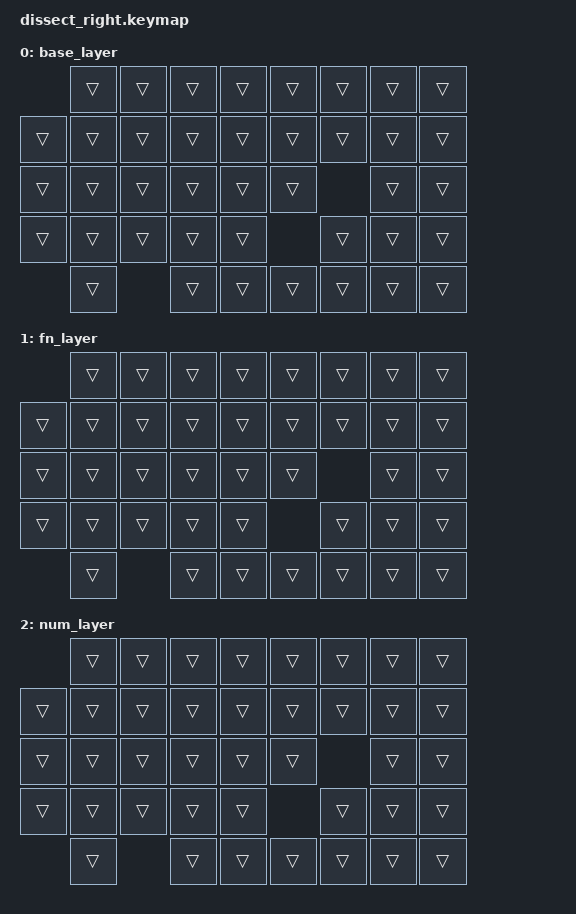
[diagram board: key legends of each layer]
#include <behaviors.dtsi>
#include <dt-bindings/zmk/keys.h>

/ {
    keymap {
        compatible = "zmk,keymap";

        base_layer {
            bindings = <
                         &trans &trans &trans &trans &trans &trans &trans &trans
                &trans   &trans &trans &trans &trans &trans &trans &trans &trans
                &trans   &trans &trans &trans &trans &trans        &trans &trans
                &trans   &trans &trans &trans &trans        &trans &trans &trans
                         &trans        &trans &trans &trans &trans &trans &trans
            >;
        };

        fn_layer {
            bindings = <
                         &trans &trans &trans &trans &trans &trans &trans &trans
                &trans   &trans &trans &trans &trans &trans &trans &trans &trans
                &trans   &trans &trans &trans &trans &trans        &trans &trans
                &trans   &trans &trans &trans &trans        &trans &trans &trans
                         &trans        &trans &trans &trans &trans &trans &trans
            >;
        };

        num_layer {
            bindings = <
                         &trans &trans &trans &trans &trans &trans &trans &trans
                &trans   &trans &trans &trans &trans &trans &trans &trans &trans
                &trans   &trans &trans &trans &trans &trans        &trans &trans
                &trans   &trans &trans &trans &trans        &trans &trans &trans
                         &trans        &trans &trans &trans &trans &trans &trans
            >;
        };
    };
};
